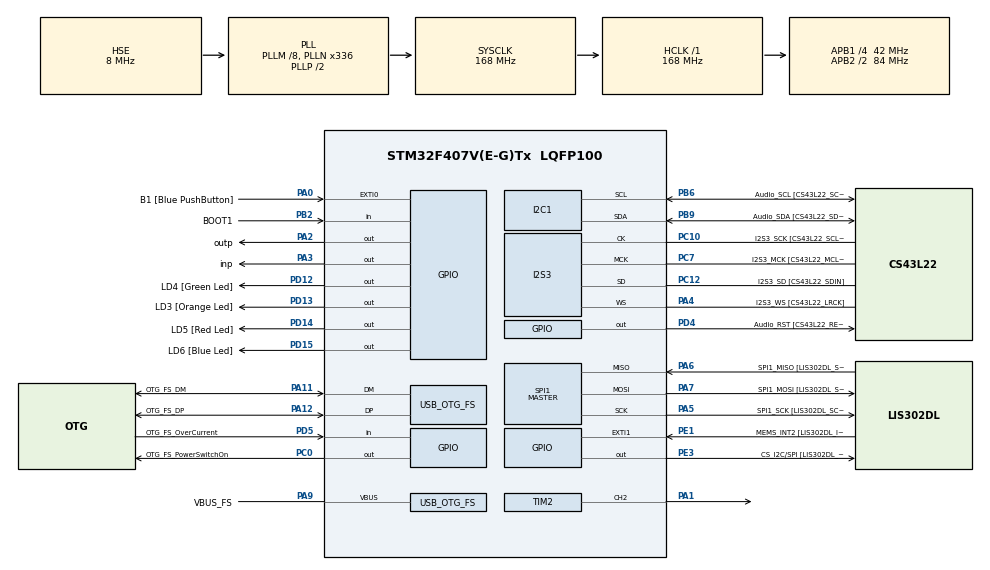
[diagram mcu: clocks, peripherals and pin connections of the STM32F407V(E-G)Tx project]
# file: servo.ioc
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I2S3.AudioFreq-Half_Duplex_Master=I2S_AUDIOFREQ_96K
I2S3.ErrorAudioFreq=-2.34 %
I2S3.ErrorAudioFreq-Half_Duplex_Master=0.8 %
I2S3.FullDuplexMode=I2S_FULLDUPLEXMODE_DISABLE
I2S3.Instance=SPI$Index
I2S3.RealAudioFreq=93.75 KHz
I2S3.RealAudioFreq-Half_Duplex_Master=96.774 KHz
I2S3.VirtualMode=I2S_MODE_MASTER
Mcu.Family=STM32F4
Mcu.Name=STM32F407V(E-G)Tx
Mcu.Package=LQFP100
NVIC.OTG_FS_IRQn=true\:0\:0\:false\:false\:true\:true\:true\:true
NVIC.PriorityGroup=NVIC_PRIORITYGROUP_0
NVIC.TIM2_IRQn=true\:0\:0\:false\:false\:true\:true\:true\:true
PA0-WKUP.GPIO_Label=B1 [Blue PushButton]
PA0-WKUP.GPIO_ModeDefaultEXTI=GPIO_MODE_EVT_RISING
PA0-WKUP.GPIO_PuPd=GPIO_NOPULL
PA0-WKUP.Signal=GPXTI0
PA1.Signal=S_TIM2_CH2
PA10.GPIO_Label=OTG_FS_ID
PA10.GPIO_Mode=GPIO_MODE_AF_PP
PA10.GPIO_PuPd=GPIO_NOPULL
PA10.GPIO_Speed=GPIO_SPEED_FREQ_LOW
PA10.Signal=USB_OTG_FS_ID
PA11.GPIO_Label=OTG_FS_DM
PA11.GPIO_Mode=GPIO_MODE_AF_PP
PA11.GPIO_PuPd=GPIO_NOPULL
PA11.GPIO_Speed=GPIO_SPEED_FREQ_LOW
PA11.Mode=Host_Only
PA11.Signal=USB_OTG_FS_DM
PA12.GPIO_Label=OTG_FS_DP
PA12.GPIO_Mode=GPIO_MODE_AF_PP
PA12.GPIO_PuPd=GPIO_NOPULL
PA12.GPIO_Speed=GPIO_SPEED_FREQ_LOW
PA12.Mode=Host_Only
PA12.Signal=USB_OTG_FS_DP
PA13.GPIO_Label=SWDIO
PA13.Mode=Serial_Wire
PA13.Signal=SYS_JTMS-SWDIO
PA14.GPIO_Label=SWCLK
PA14.Mode=Serial_Wire
PA14.Signal=SYS_JTCK-SWCLK
PA2.GPIO_Label=outp
PA2.Signal=GPIO_Output
PA3.GPIO_Label=inp
PA3.Signal=GPIO_Output
PA4.GPIO_Label=I2S3_WS [CS43L22_LRCK]
PA4.GPIO_Mode=GPIO_MODE_AF_PP
PA4.GPIO_PuPd=GPIO_NOPULL
PA4.GPIO_Speed=GPIO_SPEED_FREQ_LOW
PA4.Mode=Half_Duplex_Master
PA4.Signal=I2S3_WS
PA5.GPIO_Label=SPI1_SCK [LIS302DL_SCL/SPC]
PA5.GPIO_Mode=GPIO_MODE_AF_PP
PA5.GPIO_PuPd=GPIO_NOPULL
PA5.GPIO_Speed=GPIO_SPEED_FREQ_LOW
PA5.Mode=Full_Duplex_Master
PA5.Signal=SPI1_SCK
PA6.GPIO_Label=SPI1_MISO [LIS302DL_SDO]
PA6.GPIO_Mode=GPIO_MODE_AF_PP
PA6.GPIO_PuPd=GPIO_NOPULL
PA6.GPIO_Speed=GPIO_SPEED_FREQ_LOW
PA6.Mode=Full_Duplex_Master
PA6.Signal=SPI1_MISO
PA7.GPIO_Label=SPI1_MOSI [LIS302DL_SDA/SDI/SDO]
PA7.GPIO_Mode=GPIO_MODE_AF_PP
PA7.GPIO_PuPd=GPIO_NOPULL
PA7.GPIO_Speed=GPIO_SPEED_FREQ_LOW
PA7.Mode=Full_Duplex_Master
PA7.Signal=SPI1_MOSI
PA9.GPIO_Label=VBUS_FS
PA9.GPIO_Mode=GPIO_MODE_INPUT
PA9.GPIO_PuPd=GPIO_NOPULL
PA9.Mode=Activate_VBUS
PA9.Signal=USB_OTG_FS_VBUS
PB10.GPIO_Label=CLK_IN [MP45DT02_CLK]
PB10.GPIO_Mode=GPIO_MODE_AF_PP
PB10.GPIO_PuPd=GPIO_NOPULL
PB10.GPIO_Speed=GPIO_SPEED_FREQ_LOW
PB10.Signal=I2S2_CK
PB2.GPIO_Label=BOOT1
PB2.GPIO_Mode=GPIO_MODE_INPUT
PB2.GPIO_PuPd=GPIO_NOPULL
PB2.Signal=GPIO_Input
PB3.GPIO_Label=SWO
PB3.Signal=SYS_JTDO-SWO
PB6.GPIO_Label=Audio_SCL [CS43L22_SCL]
PB6.GPIO_Mode=GPIO_MODE_AF_OD
PB6.GPIO_Pu=GPIO_PULLUP
PB6.GPIO_PuPd=GPIO_NOPULL
PB6.GPIO_Speed=GPIO_SPEED_FREQ_LOW
PB6.Mode=I2C
PB6.Signal=I2C1_SCL
PB9.GPIO_Label=Audio_SDA [CS43L22_SDA]
PB9.GPIO_Mode=GPIO_MODE_AF_OD
PB9.GPIO_Pu=GPIO_PULLUP
PB9.GPIO_PuPd=GPIO_NOPULL
PB9.GPIO_Speed=GPIO_SPEED_FREQ_LOW
PB9.Mode=I2C
PB9.Signal=I2C1_SDA
PC0.GPIO_Label=OTG_FS_PowerSwitchOn
PC0.GPIO_PuPd=GPIO_NOPULL
PC0.GPIO_Speed=GPIO_SPEED_FREQ_LOW
PC0.PinState=GPIO_PIN_SET
PC0.Signal=GPIO_Output
PC10.GPIO_Label=I2S3_SCK [CS43L22_SCLK]
PC10.GPIO_Mode=GPIO_MODE_AF_PP
PC10.GPIO_PuPd=GPIO_NOPULL
PC10.GPIO_Speed=GPIO_SPEED_FREQ_LOW
PC10.Mode=Half_Duplex_Master
PC10.Signal=I2S3_CK
PC12.GPIO_Label=I2S3_SD [CS43L22_SDIN]
PC12.GPIO_Mode=GPIO_MODE_AF_PP
PC12.GPIO_PuPd=GPIO_NOPULL
PC12.GPIO_Speed=GPIO_SPEED_FREQ_LOW
PC12.Mode=Half_Duplex_Master
PC12.Signal=I2S3_SD
PC14-OSC32_IN.GPIO_Label=PC14-OSC32_IN
PC14-OSC32_IN.Signal=RCC_OSC32_IN
PC15-OSC32_OUT.GPIO_Label=PC15-OSC32_OUT
PC15-OSC32_OUT.Signal=RCC_OSC32_OUT
PC3.GPIO_Label=PDM_OUT [MP45DT02_DOUT]
PC3.GPIO_Mode=GPIO_MODE_AF_PP
PC3.GPIO_PuPd=GPIO_NOPULL
PC3.GPIO_Speed=GPIO_SPEED_FREQ_LOW
PC3.Signal=I2S2_SD
PC7.GPIO_Label=I2S3_MCK [CS43L22_MCLK]
PC7.GPIO_Mode=GPIO_MODE_AF_PP
PC7.GPIO_PuPd=GPIO_NOPULL
PC7.GPIO_Speed=GPIO_SPEED_FREQ_LOW
PC7.Mode=Master_Clock_Activated
PC7.Signal=I2S3_MCK
PD12.GPIO_Label=LD4 [Green Led]
PD12.GPIO_PuPd=GPIO_NOPULL
PD12.GPIO_Speed=GPIO_SPEED_FREQ_LOW
PD12.Signal=GPIO_Output
PD13.GPIO_Label=LD3 [Orange Led]
PD13.GPIO_PuPd=GPIO_NOPULL
PD13.GPIO_Speed=GPIO_SPEED_FREQ_LOW
PD13.Signal=GPIO_Output
PD14.GPIO_Label=LD5 [Red Led]
PD14.GPIO_PuPd=GPIO_NOPULL
PD14.GPIO_Speed=GPIO_SPEED_FREQ_LOW
PD14.Signal=GPIO_Output
PD15.GPIO_Label=LD6 [Blue Led]
PD15.GPIO_PuPd=GPIO_NOPULL
PD15.GPIO_Speed=GPIO_SPEED_FREQ_LOW
PD15.Signal=GPIO_Output
PD4.GPIO_Label=Audio_RST [CS43L22_RESET]
PD4.GPIO_PuPd=GPIO_NOPULL
PD4.GPIO_Speed=GPIO_SPEED_FREQ_LOW
PD4.Signal=GPIO_Output
PD5.GPIO_Label=OTG_FS_OverCurrent
PD5.GPIO_Mode=GPIO_MODE_INPUT
PD5.GPIO_PuPd=GPIO_NOPULL
PD5.Signal=GPIO_Input
PE1.GPIO_Label=MEMS_INT2 [LIS302DL_INT2]
PE1.GPIO_ModeDefaultEXTI=GPIO_MODE_EVT_RISING
PE1.GPIO_PuPd=GPIO_NOPULL
PE1.Signal=GPXTI1
PE3.GPIO_Label=CS_I2C/SPI [LIS302DL_CS_I2C/SPI]
PE3.GPIO_PuPd=GPIO_NOPULL
PE3.GPIO_Speed=GPIO_SPEED_FREQ_LOW
PE3.Signal=GPIO_Output
PH0-OSC_IN.GPIO_Label=PH0-OSC_IN
PH0-OSC_IN.Mode=HSE-External-Oscillator
PH0-OSC_IN.Signal=RCC_OSC_IN
PH1-OSC_OUT.GPIO_Label=PH1-OSC_OUT
PH1-OSC_OUT.Mode=HSE-External-Oscillator
PH1-OSC_OUT.Signal=RCC_OSC_OUT
ProjectManager.HeapSize=0x200
ProjectManager.StackSize=0x400
ProjectManager.TargetToolchain=STM32CubeIDE
RCC.48MHZClocksFreq_Value=48000000
RCC.AHBFreq_Value=168000000
RCC.APB1CLKDivider=RCC_HCLK_DIV4
RCC.APB1Freq_Value=42000000
RCC.APB1TimFreq_Value=84000000
RCC.APB2CLKDivider=RCC_HCLK_DIV2
RCC.APB2Freq_Value=84000000
RCC.APB2TimFreq_Value=168000000
RCC.CortexFreq_Value=168000000
RCC.HCLKFreq_Value=168000000
RCC.HSE_VALUE=8000000
RCC.HSI_VALUE=16000000
RCC.PLLM=8
RCC.PLLN=336
RCC.PLLQ=7
RCC.SYSCLKFreq_VALUE=168000000
RCC.SYSCLKSource=RCC_SYSCLKSOURCE_PLLCLK
RCC.VCOOutputFreq_Value=336000000
SH.S_TIM2_CH2.0=TIM2_CH2,PWM Generation2 CH2
SPI1.BaudRatePrescaler-Full_Duplex_Master=SPI_BAUDRATEPRESCALER_2
SPI1.CalculateBaudRate-Full_Duplex_Master=42.0 MBits/s
SPI1.Direction=SPI_DIRECTION_2LINES
SPI1.Mode=SPI_MODE_MASTER
SPI1.Mode-Full_Duplex_Master=SPI_MODE_MASTER
SPI1.VirtualType=VM_MASTER
TIM2.Channel-PWM\ Generation2\ CH2=TIM_CHANNEL_2
TIM2.Period=1000-1
TIM2.Prescaler=1680-1
USB_HOST.BSP.number=1
USB_HOST.USBH_HandleTypeDef-CDC_FS=hUsbHostFS
USB_HOST.VirtualModeFS=Cdc
USB_HOST0.BSP.STBoard=false
USB_HOST0.BSP.api=Unknown
USB_HOST0.BSP.instance=PC0
USB_HOST0.BSP.ip=GPIO
USB_HOST0.BSP.mode=Output
USB_HOST0.BSP.name=Drive_VBUS_FS
USB_HOST0.BSP.solution=PC0
USB_OTG_FS.VirtualMode=Host_Only
USB_OTG_FS.phy_itface=HCD_PHY_EMBEDDED
VP_TIM2_VS_ClockSourceINT.Mode=Internal
VP_USB_HOST_VS_USB_HOST_CDC_FS.Mode=CDC_FS
board=STM32F407G-DISC1

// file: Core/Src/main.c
/* USER CODE BEGIN Header */
/**
  ******************************************************************************
  * @file           : main.c
  * @brief          : Main program body
  ******************************************************************************
  * @attention
  *
  * Copyright (c) 2024 STMicroelectronics.
  * All rights reserved.
  *
  * This software is licensed under terms that can be found in the LICENSE file
  * in the root directory of this software component.
  * If no LICENSE file comes with this software, it is provided AS-IS.
  *
  ******************************************************************************
  */
/* USER CODE END Header */
#include "main.h"
#include "usb_host.h"

I2C_HandleTypeDef hi2c1;

I2S_HandleTypeDef hi2s3;

SPI_HandleTypeDef hspi1;

TIM_HandleTypeDef htim2;

/* USER CODE BEGIN PV */
uint32_t time=0;
uint32_t localTime=0;
int distance=0;
/* USER CODE END PV */

void SystemClock_Config(void);
static void MX_GPIO_Init(void);
static void MX_I2C1_Init(void);
static void MX_I2S3_Init(void);
static void MX_SPI1_Init(void);
static void MX_TIM2_Init(void);
void MX_USB_HOST_Process(void);

/* USER CODE BEGIN 0 */
uint32_t Read_HCSR04(void){
	uint32_t localTime=0;

	  HAL_GPIO_WritePin(outp_GPIO_Port, outp_Pin, 1);
	  DWT_Delay_us(10);
	  HAL_GPIO_WritePin(outp_GPIO_Port, outp_Pin, 0);

	  while(HAL_GPIO_ReadPin(inp_GPIO_Port,inp_Pin)==0);

	  while(HAL_GPIO_ReadPin(inp_GPIO_Port,inp_Pin)==1){
		  localTime++;
		  DWT_Delay_us(1);
	  }
	  return localTime;
}
/* USER CODE END 0 */

int main(void)
{

  /* MCU Configuration--------------------------------------------------------*/

  /* Reset of all peripherals, Initializes the Flash interface and the Systick. */
  HAL_Init();

  /* USER CODE BEGIN Init */
  DWT_Delay_Init();
  /* USER CODE END Init */

  /* Configure the system clock */
  SystemClock_Config();

  /* Initialize all configured peripherals */
  MX_GPIO_Init();
  MX_I2C1_Init();
  MX_I2S3_Init();
  MX_SPI1_Init();
  MX_USB_HOST_Init();
  MX_TIM2_Init();
  /* USER CODE BEGIN 2 */
  HAL_TIM_PWM_Start(&htim2, TIM_CHANNEL_2);
  __HAL_TIM_SET_COMPARE(&htim2, TIM_CHANNEL_2,75);
  HAL_Delay(3000);
  float z=0;
  /* USER CODE END 2 */

  /* Infinite loop */
  /* USER CODE BEGIN WHILE */
  while (1)
  {

	  uint32_t Read_HCSR04(void){
	  		  uint32_t localTime=0;

	  	  	  HAL_GPIO_WritePin(outp_GPIO_Port, outp_Pin, 1);
	  	  	  DWT_Delay_us(10);
	  	  	  HAL_GPIO_WritePin(outp_GPIO_Port, outp_Pin, 0);

	  	  	  while(HAL_GPIO_ReadPin(inp_GPIO_Port,inp_Pin)==0);

	  	  	  while(HAL_GPIO_ReadPin(inp_GPIO_Port,inp_Pin)==1){
	  	  		  localTime++;
	  	  		  DWT_Delay_us(1);
	  	  	  }
	  	  	  return localTime;
	  	  }
    /* USER CODE END WHILE */
    MX_USB_HOST_Process();

  }
}

void SystemClock_Config(void)
{
  RCC_OscInitTypeDef RCC_OscInitStruct = {0};
  RCC_ClkInitTypeDef RCC_ClkInitStruct = {0};

  /** Configure the main internal regulator output voltage
  */
  __HAL_RCC_PWR_CLK_ENABLE();
  __HAL_PWR_VOLTAGESCALING_CONFIG(PWR_REGULATOR_VOLTAGE_SCALE1);

  /** Initializes the RCC Oscillators according to the specified parameters
  * in the RCC_OscInitTypeDef structure.
  */
  RCC_OscInitStruct.OscillatorType = RCC_OSCILLATORTYPE_HSE;
  RCC_OscInitStruct.HSEState = RCC_HSE_ON;
  RCC_OscInitStruct.PLL.PLLState = RCC_PLL_ON;
  RCC_OscInitStruct.PLL.PLLSource = RCC_PLLSOURCE_HSE;
  RCC_OscInitStruct.PLL.PLLM = 8;
  RCC_OscInitStruct.PLL.PLLN = 336;
  RCC_OscInitStruct.PLL.PLLP = RCC_PLLP_DIV2;
  RCC_OscInitStruct.PLL.PLLQ = 7;
  if (HAL_RCC_OscConfig(&RCC_OscInitStruct) != HAL_OK)
  {
    Error_Handler();
  }

  /** Initializes the CPU, AHB and APB buses clocks
  */
  RCC_ClkInitStruct.ClockType = RCC_CLOCKTYPE_HCLK|RCC_CLOCKTYPE_SYSCLK
                              |RCC_CLOCKTYPE_PCLK1|RCC_CLOCKTYPE_PCLK2;
  RCC_ClkInitStruct.SYSCLKSource = RCC_SYSCLKSOURCE_PLLCLK;
  RCC_ClkInitStruct.AHBCLKDivider = RCC_SYSCLK_DIV1;
  RCC_ClkInitStruct.APB1CLKDivider = RCC_HCLK_DIV4;
  RCC_ClkInitStruct.APB2CLKDivider = RCC_HCLK_DIV2;

  if (HAL_RCC_ClockConfig(&RCC_ClkInitStruct, FLASH_LATENCY_5) != HAL_OK)
  {
    Error_Handler();
  }
}

static void MX_I2C1_Init(void)
{

  hi2c1.Instance = I2C1;
  hi2c1.Init.ClockSpeed = 100000;
  hi2c1.Init.DutyCycle = I2C_DUTYCYCLE_2;
  hi2c1.Init.OwnAddress1 = 0;
  hi2c1.Init.AddressingMode = I2C_ADDRESSINGMODE_7BIT;
  hi2c1.Init.DualAddressMode = I2C_DUALADDRESS_DISABLE;
  hi2c1.Init.OwnAddress2 = 0;
  hi2c1.Init.GeneralCallMode = I2C_GENERALCALL_DISABLE;
  hi2c1.Init.NoStretchMode = I2C_NOSTRETCH_DISABLE;
  if (HAL_I2C_Init(&hi2c1) != HAL_OK)
  {
    Error_Handler();
  }

}

static void MX_I2S3_Init(void)
{

  hi2s3.Instance = SPI3;
  hi2s3.Init.Mode = I2S_MODE_MASTER_TX;
  hi2s3.Init.Standard = I2S_STANDARD_PHILIPS;
  hi2s3.Init.DataFormat = I2S_DATAFORMAT_16B;
  hi2s3.Init.MCLKOutput = I2S_MCLKOUTPUT_ENABLE;
  hi2s3.Init.AudioFreq = I2S_AUDIOFREQ_96K;
  hi2s3.Init.CPOL = I2S_CPOL_LOW;
  hi2s3.Init.ClockSource = I2S_CLOCK_PLL;
  hi2s3.Init.FullDuplexMode = I2S_FULLDUPLEXMODE_DISABLE;
  if (HAL_I2S_Init(&hi2s3) != HAL_OK)
  {
    Error_Handler();
  }

}

static void MX_SPI1_Init(void)
{

  /* SPI1 parameter configuration*/
  hspi1.Instance = SPI1;
  hspi1.Init.Mode = SPI_MODE_MASTER;
  hspi1.Init.Direction = SPI_DIRECTION_2LINES;
  hspi1.Init.DataSize = SPI_DATASIZE_8BIT;
  hspi1.Init.CLKPolarity = SPI_POLARITY_LOW;
  hspi1.Init.CLKPhase = SPI_PHASE_1EDGE;
  hspi1.Init.NSS = SPI_NSS_SOFT;
  hspi1.Init.BaudRatePrescaler = SPI_BAUDRATEPRESCALER_2;
  hspi1.Init.FirstBit = SPI_FIRSTBIT_MSB;
  hspi1.Init.TIMode = SPI_TIMODE_DISABLE;
  hspi1.Init.CRCCalculation = SPI_CRCCALCULATION_DISABLE;
  hspi1.Init.CRCPolynomial = 10;
  if (HAL_SPI_Init(&hspi1) != HAL_OK)
  {
    Error_Handler();
  }

}

static void MX_TIM2_Init(void)
{

  TIM_ClockConfigTypeDef sClockSourceConfig = {0};
  TIM_MasterConfigTypeDef sMasterConfig = {0};
  TIM_OC_InitTypeDef sConfigOC = {0};

  htim2.Instance = TIM2;
  htim2.Init.Prescaler = 1680-1;
  htim2.Init.CounterMode = TIM_COUNTERMODE_UP;
  htim2.Init.Period = 1000-1;
  htim2.Init.ClockDivision = TIM_CLOCKDIVISION_DIV1;
  htim2.Init.AutoReloadPreload = TIM_AUTORELOAD_PRELOAD_DISABLE;
  if (HAL_TIM_Base_Init(&htim2) != HAL_OK)
  {
    Error_Handler();
  }
  sClockSourceConfig.ClockSource = TIM_CLOCKSOURCE_INTERNAL;
  if (HAL_TIM_ConfigClockSource(&htim2, &sClockSourceConfig) != HAL_OK)
  {
    Error_Handler();
  }
  if (HAL_TIM_PWM_Init(&htim2) != HAL_OK)
  {
    Error_Handler();
  }
  sMasterConfig.MasterOutputTrigger = TIM_TRGO_RESET;
  sMasterConfig.MasterSlaveMode = TIM_MASTERSLAVEMODE_DISABLE;
  if (HAL_TIMEx_MasterConfigSynchronization(&htim2, &sMasterConfig) != HAL_OK)
  {
    Error_Handler();
  }
  sConfigOC.OCMode = TIM_OCMODE_PWM1;
  sConfigOC.Pulse = 0;
  sConfigOC.OCPolarity = TIM_OCPOLARITY_HIGH;
  sConfigOC.OCFastMode = TIM_OCFAST_DISABLE;
  if (HAL_TIM_PWM_ConfigChannel(&htim2, &sConfigOC, TIM_CHANNEL_2) != HAL_OK)
  {
    Error_Handler();
  }
  HAL_TIM_MspPostInit(&htim2);

}

static void MX_GPIO_Init(void)
{
  GPIO_InitTypeDef GPIO_InitStruct = {0};

  /* GPIO Ports Clock Enable */
  __HAL_RCC_GPIOE_CLK_ENABLE();
  __HAL_RCC_GPIOC_CLK_ENABLE();
  __HAL_RCC_GPIOH_CLK_ENABLE();
  __HAL_RCC_GPIOA_CLK_ENABLE();
  __HAL_RCC_GPIOB_CLK_ENABLE();
  __HAL_RCC_GPIOD_CLK_ENABLE();

  /*Configure GPIO pin Output Level */
  HAL_GPIO_WritePin(CS_I2C_SPI_GPIO_Port, CS_I2C_SPI_Pin, GPIO_PIN_RESET);

  /*Configure GPIO pin Output Level */
  HAL_GPIO_WritePin(OTG_FS_PowerSwitchOn_GPIO_Port, OTG_FS_PowerSwitchOn_Pin, GPIO_PIN_SET);

  /*Configure GPIO pin Output Level */
  HAL_GPIO_WritePin(GPIOA, outp_Pin|inp_Pin, GPIO_PIN_RESET);

  /*Configure GPIO pin Output Level */
  HAL_GPIO_WritePin(GPIOD, LD4_Pin|LD3_Pin|LD5_Pin|LD6_Pin
                          |Audio_RST_Pin, GPIO_PIN_RESET);

  /*Configure GPIO pin : CS_I2C_SPI_Pin */
  GPIO_InitStruct.Pin = CS_I2C_SPI_Pin;
  GPIO_InitStruct.Mode = GPIO_MODE_OUTPUT_PP;
  GPIO_InitStruct.Pull = GPIO_NOPULL;
  GPIO_InitStruct.Speed = GPIO_SPEED_FREQ_LOW;
  HAL_GPIO_Init(CS_I2C_SPI_GPIO_Port, &GPIO_InitStruct);

  /*Configure GPIO pin : OTG_FS_PowerSwitchOn_Pin */
  GPIO_InitStruct.Pin = OTG_FS_PowerSwitchOn_Pin;
  GPIO_InitStruct.Mode = GPIO_MODE_OUTPUT_PP;
  GPIO_InitStruct.Pull = GPIO_NOPULL;
  GPIO_InitStruct.Speed = GPIO_SPEED_FREQ_LOW;
  HAL_GPIO_Init(OTG_FS_PowerSwitchOn_GPIO_Port, &GPIO_InitStruct);

  /*Configure GPIO pin : PDM_OUT_Pin */
  GPIO_InitStruct.Pin = PDM_OUT_Pin;
  GPIO_InitStruct.Mode = GPIO_MODE_AF_PP;
  GPIO_InitStruct.Pull = GPIO_NOPULL;
  GPIO_InitStruct.Speed = GPIO_SPEED_FREQ_LOW;
  GPIO_InitStruct.Alternate = GPIO_AF5_SPI2;
  HAL_GPIO_Init(PDM_OUT_GPIO_Port, &GPIO_InitStruct);

  /*Configure GPIO pin : B1_Pin */
  GPIO_InitStruct.Pin = B1_Pin;
  GPIO_InitStruct.Mode = GPIO_MODE_EVT_RISING;
  GPIO_InitStruct.Pull = GPIO_NOPULL;
  HAL_GPIO_Init(B1_GPIO_Port, &GPIO_InitStruct);

  /*Configure GPIO pins : outp_Pin inp_Pin */
  GPIO_InitStruct.Pin = outp_Pin|inp_Pin;
  GPIO_InitStruct.Mode = GPIO_MODE_OUTPUT_PP;
  GPIO_InitStruct.Pull = GPIO_NOPULL;
  GPIO_InitStruct.Speed = GPIO_SPEED_FREQ_LOW;
  HAL_GPIO_Init(GPIOA, &GPIO_InitStruct);

  /*Configure GPIO pin : BOOT1_Pin */
  GPIO_InitStruct.Pin = BOOT1_Pin;
  GPIO_InitStruct.Mode = GPIO_MODE_INPUT;
  GPIO_InitStruct.Pull = GPIO_NOPULL;
  HAL_GPIO_Init(BOOT1_GPIO_Port, &GPIO_InitStruct);

  /*Configure GPIO pin : CLK_IN_Pin */
  GPIO_InitStruct.Pin = CLK_IN_Pin;
  GPIO_InitStruct.Mode = GPIO_MODE_AF_PP;
  GPIO_InitStruct.Pull = GPIO_NOPULL;
  GPIO_InitStruct.Speed = GPIO_SPEED_FREQ_LOW;
  GPIO_InitStruct.Alternate = GPIO_AF5_SPI2;
  HAL_GPIO_Init(CLK_IN_GPIO_Port, &GPIO_InitStruct);

  /*Configure GPIO pins : LD4_Pin LD3_Pin LD5_Pin LD6_Pin
                           Audio_RST_Pin */
  GPIO_InitStruct.Pin = LD4_Pin|LD3_Pin|LD5_Pin|LD6_Pin
                          |Audio_RST_Pin;
  GPIO_InitStruct.Mode = GPIO_MODE_OUTPUT_PP;
  GPIO_InitStruct.Pull = GPIO_NOPULL;
  GPIO_InitStruct.Speed = GPIO_SPEED_FREQ_LOW;
  HAL_GPIO_Init(GPIOD, &GPIO_InitStruct);

  /*Configure GPIO pin : OTG_FS_OverCurrent_Pin */
  GPIO_InitStruct.Pin = OTG_FS_OverCurrent_Pin;
  GPIO_InitStruct.Mode = GPIO_MODE_INPUT;
  GPIO_InitStruct.Pull = GPIO_NOPULL;
  HAL_GPIO_Init(OTG_FS_OverCurrent_GPIO_Port, &GPIO_InitStruct);

  /*Configure GPIO pin : MEMS_INT2_Pin */
  GPIO_InitStruct.Pin = MEMS_INT2_Pin;
  GPIO_InitStruct.Mode = GPIO_MODE_EVT_RISING;
  GPIO_InitStruct.Pull = GPIO_NOPULL;
  HAL_GPIO_Init(MEMS_INT2_GPIO_Port, &GPIO_InitStruct);

}

void Error_Handler(void)
{
  __disable_irq();
  while (1)
  {
  }
}
